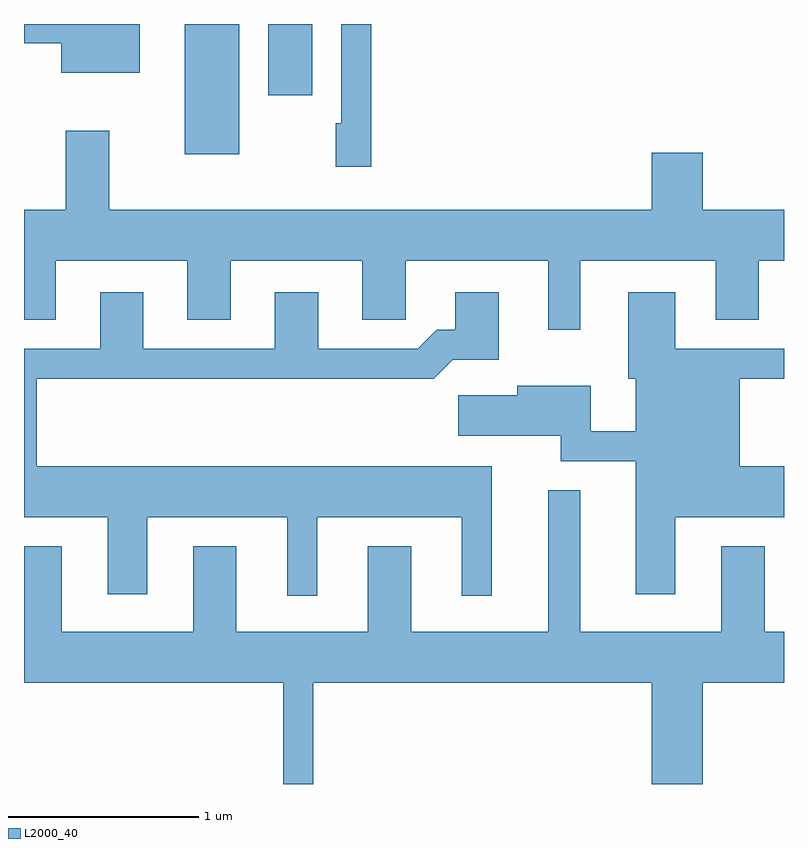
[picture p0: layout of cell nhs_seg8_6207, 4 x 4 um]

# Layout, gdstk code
import gdstk
lib = gdstk.Library(unit=1e-6, precision=1e-09)
def R(c, l, rs):  # rectangles x0, y0, x1, y1
    for r in rs: c.add(gdstk.rectangle(r[:2], r[2:], *l))
def P(c, l, *ps):  # polygons
    for p in ps: c.add(gdstk.Polygon(p, *l))
L2000_40 = (2000, 40)

nhs_seg8_6207 = lib.new_cell('nhs_seg8_6207')
R(nhs_seg8_6207, L2000_40, [(372.456,1823.656,372.744,1824.342), (372.896,1823.966,373.129,1824.342)])
P(nhs_seg8_6207, L2000_40, [(373.439,1824.342),(373.281,1824.342),(373.281,1823.819),(373.251,1823.819),(373.251,1823.591),(373.439,1823.591)],
  [(372.219,1824.342),(371.611,1824.342),(371.611,1824.241),(371.806,1824.241),(371.806,1824.086),(372.219,1824.086)],
  [(374.539,1823.096),(375.251,1823.096),(375.251,1822.786),(375.479,1822.786),(375.479,1823.096),(375.611,1823.096),(375.611,1823.364),(375.184,1823.364),(375.184,1823.664),(374.916,1823.664),(374.916,1823.364),(372.059,1823.364),(372.059,1823.779),(371.831,1823.779),(371.831,1823.364),(371.611,1823.364),(371.611,1822.786),(371.779,1822.786),(371.779,1823.096),(372.471,1823.096),(372.471,1822.786),(372.699,1822.786),(372.699,1823.096),(373.391,1823.096),(373.391,1822.786),(373.619,1822.786),(373.619,1823.096),(374.371,1823.096),(374.371,1822.733),(374.539,1822.733)],
  [(373.154,1821.746),(373.916,1821.746),(373.916,1821.333),(374.074,1821.333),(374.074,1822.014),(371.679,1822.014),(371.679,1822.476),(373.767,1822.476),(373.867,1822.576),(374.109,1822.576),(374.109,1822.929),(373.881,1822.929),(373.881,1822.734),(373.784,1822.734),(373.684,1822.634),(373.159,1822.634),(373.159,1822.929),(372.931,1822.929),(372.931,1822.634),(372.239,1822.634),(372.239,1822.929),(372.011,1822.929),(372.011,1822.634),(371.611,1822.634),(371.611,1821.746),(372.051,1821.746),(372.051,1821.341),(372.259,1821.341),(372.259,1821.746),(372.996,1821.746),(372.996,1821.333),(373.154,1821.333)],
  [(375.039,1821.746),(375.611,1821.746),(375.611,1822.014),(375.379,1822.014),(375.379,1822.476),(375.611,1822.476),(375.611,1822.634),(375.039,1822.634),(375.039,1822.929),(374.791,1822.929),(374.791,1822.476),(374.831,1822.476),(374.831,1822.199),(374.594,1822.199),(374.594,1822.439),(374.206,1822.439),(374.206,1822.389),(373.896,1822.389),(373.896,1822.176),(374.436,1822.176),(374.436,1822.041),(374.831,1822.041),(374.831,1821.341),(375.039,1821.341)],
  [(373.134,1820.876),(374.916,1820.876),(374.916,1820.342),(375.184,1820.342),(375.184,1820.876),(375.611,1820.876),(375.611,1821.144),(375.509,1821.144),(375.509,1821.594),(375.281,1821.594),(375.281,1821.144),(374.539,1821.144),(374.539,1821.888),(374.371,1821.888),(374.371,1821.144),(373.649,1821.144),(373.649,1821.594),(373.421,1821.594),(373.421,1821.144),(372.729,1821.144),(372.729,1821.594),(372.501,1821.594),(372.501,1821.144),(371.809,1821.144),(371.809,1821.594),(371.611,1821.594),(371.611,1820.876),(372.976,1820.876),(372.976,1820.342),(373.134,1820.342)])

lib.write_gds('nhs_seg8_6207.gds')
